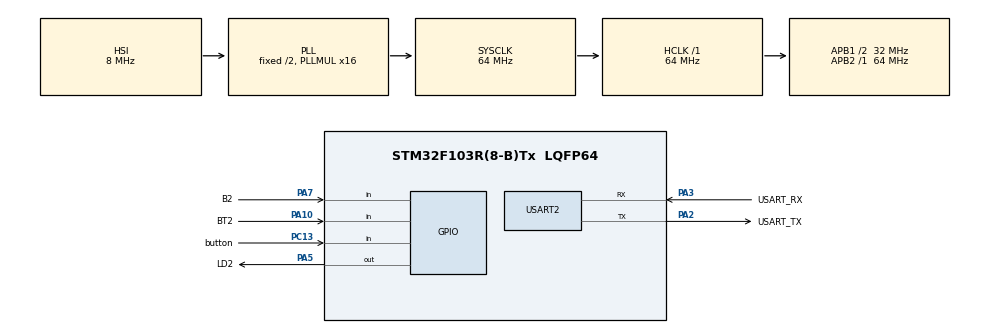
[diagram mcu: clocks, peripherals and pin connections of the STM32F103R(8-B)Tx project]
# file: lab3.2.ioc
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Mcu.Family=STM32F1
Mcu.Name=STM32F103R(8-B)Tx
Mcu.Package=LQFP64
NVIC.PriorityGroup=NVIC_PRIORITYGROUP_4
NVIC.TIM3_IRQn=true\:0\:0\:false\:false\:true\:true\:true
PA10.GPIO_Label=BT2
PA10.Signal=GPIO_Input
PA13.GPIO_Label=TMS
PA13.Mode=Serial_Wire
PA13.Signal=SYS_JTMS-SWDIO
PA14.GPIO_Label=TCK
PA14.Mode=Serial_Wire
PA14.Signal=SYS_JTCK-SWCLK
PA2.GPIO_Label=USART_TX
PA2.GPIO_Mode=GPIO_MODE_AF_PP
PA2.GPIO_PuPd=GPIO_NOPULL
PA2.GPIO_Speed=GPIO_SPEED_FREQ_LOW
PA2.Mode=Asynchronous
PA2.Signal=USART2_TX
PA3.GPIO_Label=USART_RX
PA3.GPIO_Mode=GPIO_MODE_AF_PP
PA3.GPIO_PuPd=GPIO_NOPULL
PA3.GPIO_Speed=GPIO_SPEED_FREQ_LOW
PA3.Mode=Asynchronous
PA3.Signal=USART2_RX
PA5.GPIO_Label=LD2
PA5.Signal=GPIO_Output
PA7.GPIO_Label=B2
PA7.Signal=GPIO_Input
PB3.GPIO_Label=SWO
PB3.Signal=SYS_JTDO-TRACESWO
PC13-TAMPER-RTC.GPIO_Label=button
PC13-TAMPER-RTC.Signal=GPIO_Input
PC14-OSC32_IN.Signal=RCC_OSC32_IN
PC15-OSC32_OUT.Signal=RCC_OSC32_OUT
PD0-OSC_IN.Signal=RCC_OSC_IN
PD1-OSC_OUT.Signal=RCC_OSC_OUT
ProjectManager.HeapSize=0x200
ProjectManager.StackSize=0x400
ProjectManager.TargetToolchain=STM32CubeIDE
RCC.AHBFreq_Value=64000000
RCC.APB1CLKDivider=RCC_HCLK_DIV2
RCC.APB1Freq_Value=32000000
RCC.APB1TimFreq_Value=64000000
RCC.APB2Freq_Value=64000000
RCC.APB2TimFreq_Value=64000000
RCC.HCLKFreq_Value=64000000
RCC.PLLMUL=RCC_PLL_MUL16
RCC.RTCClockSelection=RCC_RTCCLKSOURCE_LSE
RCC.SYSCLKFreq_VALUE=64000000
RCC.SYSCLKSource=RCC_SYSCLKSOURCE_PLLCLK
RCC.USBFreq_Value=64000000
TIM3.Period=10-1
TIM3.Prescaler=64000-1
USART2.VirtualMode=VM_ASYNC
VP_TIM3_VS_ClockSourceINT.Mode=Internal
board=NUCLEO-F103RB

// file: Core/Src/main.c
/* USER CODE BEGIN Header */
/**
  ******************************************************************************
  * @file           : main.c
  * @brief          : Main program body
  ******************************************************************************
  * @attention
  *
  * <h2><center>&copy; Copyright (c) 2020 STMicroelectronics.
  * All rights reserved.</center></h2>
  *
  * This software component is licensed by ST under BSD 3-Clause license,
  * the "License"; You may not use this file except in compliance with the
  * License. You may obtain a copy of the License at:
  *                        opensource.org/licenses/BSD-3-Clause
  *
  ******************************************************************************
  */
/* USER CODE END Header */

#include <main.h>
#include <stdbool.h>
#include <stdio.h>
#include <stm32f103xb.h>
#include <stm32f1xx_hal_def.h>
#include <stm32f1xx_hal_flash.h>
#include <stm32f1xx_hal_gpio.h>
#include <stm32f1xx_hal_rcc.h>
#include <stm32f1xx_hal_rcc_ex.h>
#include <stm32f1xx_hal_tim.h>
#include <stm32f1xx_hal_tim_ex.h>
#include <stm32f1xx_hal_uart.h>
#include <sys/_stdint.h>

/* USER CODE END Includes */

TIM_HandleTypeDef htim3;

UART_HandleTypeDef huart2;

void SystemClock_Config(void);
static void MX_GPIO_Init(void);
static void MX_USART2_UART_Init(void);
static void MX_TIM3_Init(void);

/* USER CODE BEGIN 0 */
int sec = 0;
int min = 0;
int hr = 0;
int msec = 0;
int sec2 = 0;
int min2 = 0;
int msec2 = 0;
_Bool m4 = false;
char buf[50];
int buf_len = 50;
int fbutton = 0;
int mode = 0;
_Bool checkval = 1;
_Bool checkval2 = 1;
_Bool BL = true;
//uint16_t count22=0;
int fbuttonpress12s = 0;
int fbutton2;
int count = 0;
//char
/* USER CODE END 0 */

int main(void)
{

  /* MCU Configuration--------------------------------------------------------*/

  /* Reset of all peripherals, Initializes the Flash interface and the Systick. */
  HAL_Init();

  /* Configure the system clock */
  SystemClock_Config();

  /* Initialize all configured peripherals */
  MX_GPIO_Init();
  MX_USART2_UART_Init();
  MX_TIM3_Init();
  /* USER CODE BEGIN 2 */
  HAL_TIM_Base_Start_IT(&htim3);
  /* USER CODE END 2 */

  /* Infinite loop */
  while (1)
  {

  }
}

void SystemClock_Config(void)
{
  RCC_OscInitTypeDef RCC_OscInitStruct = {0};
  RCC_ClkInitTypeDef RCC_ClkInitStruct = {0};

  /** Initializes the RCC Oscillators according to the specified parameters
  * in the RCC_OscInitTypeDef structure.
  */
  RCC_OscInitStruct.OscillatorType = RCC_OSCILLATORTYPE_HSI;
  RCC_OscInitStruct.HSIState = RCC_HSI_ON;
  RCC_OscInitStruct.HSICalibrationValue = RCC_HSICALIBRATION_DEFAULT;
  RCC_OscInitStruct.PLL.PLLState = RCC_PLL_ON;
  RCC_OscInitStruct.PLL.PLLSource = RCC_PLLSOURCE_HSI_DIV2;
  RCC_OscInitStruct.PLL.PLLMUL = RCC_PLL_MUL16;
  if (HAL_RCC_OscConfig(&RCC_OscInitStruct) != HAL_OK)
  {
    Error_Handler();
  }
  /** Initializes the CPU, AHB and APB buses clocks
  */
  RCC_ClkInitStruct.ClockType = RCC_CLOCKTYPE_HCLK|RCC_CLOCKTYPE_SYSCLK
                              |RCC_CLOCKTYPE_PCLK1|RCC_CLOCKTYPE_PCLK2;
  RCC_ClkInitStruct.SYSCLKSource = RCC_SYSCLKSOURCE_PLLCLK;
  RCC_ClkInitStruct.AHBCLKDivider = RCC_SYSCLK_DIV1;
  RCC_ClkInitStruct.APB1CLKDivider = RCC_HCLK_DIV2;
  RCC_ClkInitStruct.APB2CLKDivider = RCC_HCLK_DIV1;

  if (HAL_RCC_ClockConfig(&RCC_ClkInitStruct, FLASH_LATENCY_2) != HAL_OK)
  {
    Error_Handler();
  }
}

static void MX_TIM3_Init(void)
{

  TIM_ClockConfigTypeDef sClockSourceConfig = {0};
  TIM_MasterConfigTypeDef sMasterConfig = {0};

  htim3.Instance = TIM3;
  htim3.Init.Prescaler = 64000-1;
  htim3.Init.CounterMode = TIM_COUNTERMODE_UP;
  htim3.Init.Period = 10-1;
  htim3.Init.ClockDivision = TIM_CLOCKDIVISION_DIV1;
  htim3.Init.AutoReloadPreload = TIM_AUTORELOAD_PRELOAD_DISABLE;
  if (HAL_TIM_Base_Init(&htim3) != HAL_OK)
  {
    Error_Handler();
  }
  sClockSourceConfig.ClockSource = TIM_CLOCKSOURCE_INTERNAL;
  if (HAL_TIM_ConfigClockSource(&htim3, &sClockSourceConfig) != HAL_OK)
  {
    Error_Handler();
  }
  sMasterConfig.MasterOutputTrigger = TIM_TRGO_RESET;
  sMasterConfig.MasterSlaveMode = TIM_MASTERSLAVEMODE_DISABLE;
  if (HAL_TIMEx_MasterConfigSynchronization(&htim3, &sMasterConfig) != HAL_OK)
  {
    Error_Handler();
  }

}

static void MX_USART2_UART_Init(void)
{

  huart2.Instance = USART2;
  huart2.Init.BaudRate = 115200;
  huart2.Init.WordLength = UART_WORDLENGTH_8B;
  huart2.Init.StopBits = UART_STOPBITS_1;
  huart2.Init.Parity = UART_PARITY_NONE;
  huart2.Init.Mode = UART_MODE_TX_RX;
  huart2.Init.HwFlowCtl = UART_HWCONTROL_NONE;
  huart2.Init.OverSampling = UART_OVERSAMPLING_16;
  if (HAL_UART_Init(&huart2) != HAL_OK)
  {
    Error_Handler();
  }

}

static void MX_GPIO_Init(void)
{
  GPIO_InitTypeDef GPIO_InitStruct = {0};

  /* GPIO Ports Clock Enable */
  __HAL_RCC_GPIOC_CLK_ENABLE();
  __HAL_RCC_GPIOD_CLK_ENABLE();
  __HAL_RCC_GPIOA_CLK_ENABLE();
  __HAL_RCC_GPIOB_CLK_ENABLE();

  /*Configure GPIO pin Output Level */
  HAL_GPIO_WritePin(LD2_GPIO_Port, LD2_Pin, GPIO_PIN_RESET);

  /*Configure GPIO pin : button_Pin */
  GPIO_InitStruct.Pin = button_Pin;
  GPIO_InitStruct.Mode = GPIO_MODE_INPUT;
  GPIO_InitStruct.Pull = GPIO_NOPULL;
  HAL_GPIO_Init(button_GPIO_Port, &GPIO_InitStruct);

  /*Configure GPIO pin : LD2_Pin */
  GPIO_InitStruct.Pin = LD2_Pin;
  GPIO_InitStruct.Mode = GPIO_MODE_OUTPUT_PP;
  GPIO_InitStruct.Pull = GPIO_NOPULL;
  GPIO_InitStruct.Speed = GPIO_SPEED_FREQ_LOW;
  HAL_GPIO_Init(LD2_GPIO_Port, &GPIO_InitStruct);

  /*Configure GPIO pins : B2_Pin BT2_Pin */
  GPIO_InitStruct.Pin = B2_Pin|BT2_Pin;
  GPIO_InitStruct.Mode = GPIO_MODE_INPUT;
  GPIO_InitStruct.Pull = GPIO_NOPULL;
  HAL_GPIO_Init(GPIOA, &GPIO_InitStruct);

}

/* USER CODE BEGIN 4 */
void Normal_clk(void){

	msec++;
		if(msec > 99){
			msec = 0;
			sec ++;
			if(sec > 59){
				sec = 0 ;
				min++;
				if(min > 59){
					min = 0;
					hr ++;
					if(hr > 23){
						hr = 0;
						min = 0;
						sec = 0;
						msec = 0;
					}
				}
			}
		}
}
void Readbutton(void) {

	if(!HAL_GPIO_ReadPin(GPIOC, GPIO_PIN_13) && checkval){
		if (!HAL_GPIO_ReadPin(GPIOC, GPIO_PIN_13)) {
				//fbutton = 1;
				HAL_GPIO_TogglePin(GPIOA, GPIO_PIN_5);
				//HAL_UART_Transmit(&huart2, "t", 4, 100);
				mode++;
				if(mode > 4)
				{
					mode = 0;
				}
				if(mode == 4)
				{
					msec2 =0 ;
					sec2 = 0;
					min2 = 0;
					m4=false;
				}

				checkval = false;
		}
	}else if(HAL_GPIO_ReadPin(GPIOC, GPIO_PIN_13) == GPIO_PIN_SET && checkval == false){
			if(HAL_GPIO_ReadPin(GPIOC, GPIO_PIN_13) == GPIO_PIN_SET){
				HAL_GPIO_TogglePin(GPIOA, GPIO_PIN_5);
				checkval = true;
				//fbutton = 0;
			}
		}
	}
void mode_zero(void){
	Normal_clk();
}
void mode_one(void){
	//Normal_clk();
	if(fbutton2 == 1 && fbuttonpress12s == 0){
		hr++;
		if(hr >23){
			hr=0;
		}
	}
	if(fbutton2 == 1 && fbuttonpress12s == 1){
			hr++;
			if(hr >23){
				hr=0;
			}
		}
}
void mode_two(void){
	if(fbutton2 == 1 && fbuttonpress12s == 0){
		min++;
		if(min > 59){
			min = 0;
			hr++;
		}
	}
	if(fbutton2 == 1 && fbuttonpress12s == 1){
		min++;
		if(min >59){
			min = 0;
			hr++;
		}
		}
}
void mode_three(void){
	if(fbutton2 == 1 && fbuttonpress12s == 0){
		sec++;
		if(sec > 59){
			min++;
			if(min > 59){
				hr++;
				if(hr > 23){
					min = 0;
					hr = 0;
					sec = 0;
				}
			}
		}
	}
	if(fbutton2 == 1 && fbuttonpress12s == 1){
		sec++;
		if(sec > 59){
			min++;
			if(min > 59){
				hr++;
				if(hr > 23){
					min = 0;
					hr = 0;
					sec = 0;
				}
			}
		}
	}
}
void mode_four(void){
	if(m4 == true){

	msec2++;
		if(msec2 > 99){
			msec2 = 0;
			sec2 ++;
			if(sec2 > 59){
				sec2 = 0 ;
				min2++;
				if(min2 > 59){
					min2 = 0;
					sec2 = 0;
					msec2 = 0;
				}
			}
		}
	}
}
enum {STATE13, STATE23, STATE33, STATE43} eState3;
void Readbutton2(void) {
	if(!HAL_GPIO_ReadPin(GPIOA, GPIO_PIN_10)){
		fbutton2 = 1;
		count++;
		if(count == 20){
			fbuttonpress12s = 1;
			switch(mode){
						case 0:
							mode_zero();
						case 1:
							//Normal_clk();

							mode_one();
							break;
						case 2:
							mode_two();
							break;
						case 3:
							mode_three();
							break;
							//Normal_clk();
						}
			count=0;
		}
	}
	if(!HAL_GPIO_ReadPin(GPIOA, GPIO_PIN_10) && checkval2){
		if (!HAL_GPIO_ReadPin(GPIOA, GPIO_PIN_10)) {
			HAL_GPIO_TogglePin(GPIOA, GPIO_PIN_5);
			fbutton2 = 1;
			//m4 = true;
			if(m4){
				m4 = false;
			}
			else{
				m4 = true;
			}
			switch(mode){
			case 1:
				mode_one();
				break;
			case 2:
				mode_two();
				break;
			case 3:
				mode_three();
				break;

				//Normal_clk();
			}
				checkval2 = 0;
		}
	}else if(HAL_GPIO_ReadPin(GPIOA, GPIO_PIN_10) == GPIO_PIN_SET && checkval2 == false){
			if(HAL_GPIO_ReadPin(GPIOA, GPIO_PIN_10) == GPIO_PIN_SET){
				HAL_GPIO_TogglePin(GPIOA, GPIO_PIN_5);
				fbuttonpress12s = 0;
				//count12 = 0;
				count = 0;
				checkval2 = 1;
				fbutton2 = 0;
				//m4 = 0;
			}
		}
}

//enum {STATE12, STATE22, STATE32, STATE42} eState2;
void HAL_TIM_PeriodElapsedCallback(TIM_HandleTypeDef *time){
	if(mode != 4){
		Normal_clk();
		print_to_ter(msec,sec,min,hr);
	}else{
		 mode_four();
		print_to_ter(msec2,sec2,min2,hr);
	}

	Readbutton();
	Readbutton2();
}
void print_to_ter(int a,int b,int c,int d){
	switch(mode){
	case 0:
		buf_len = sprintf(buf, "\033[2J]	");
		buf_len = sprintf(buf, "mode%u %u:%u:%u      \r",mode,d,c,b);
		HAL_UART_Transmit(&huart2, (uint8_t *) buf, buf_len, 100);
		break;
	case 1:
		if(BL){
			buf_len = sprintf(buf, "\033[2J]	");
			buf_len = sprintf(buf, "mode%u %u:%u:%u      \r",mode,d,c,b);
			HAL_UART_Transmit(&huart2, (uint8_t *) buf, buf_len, 100);
			BL = false;
		}
		else{
			buf_len = sprintf(buf, "\033[2J]	");
			buf_len = sprintf(buf, "mode%u  :%u:%u      \r",mode,c,b);
			HAL_UART_Transmit(&huart2, (uint8_t *) buf, buf_len, 100);
			BL = true;
		}
		break;
	case 2:
		if(BL){
			buf_len = sprintf(buf, "\033[2J]	");
			buf_len = sprintf(buf, "mode%u %u:%u:%u      \r",mode,d,c,b);
			HAL_UART_Transmit(&huart2, (uint8_t *) buf, buf_len, 100);
			BL = false;
		}
		else{
			buf_len = sprintf(buf, "\033[2J]	");
			buf_len = sprintf(buf, "mode%u %u: :%u      \r",mode,d,b);
			HAL_UART_Transmit(&huart2, (uint8_t *) buf, buf_len, 100);
			BL = true;
		}
		break;
	case 3:
		if(BL){
			buf_len = sprintf(buf, "\033[2J]	");
			buf_len = sprintf(buf, "mode%u %u:%u:%u      \r",mode,d,c,b);
			HAL_UART_Transmit(&huart2, (uint8_t *) buf, buf_len, 100);
			BL = false;
		}
		else{
			buf_len = sprintf(buf, "\033[2J]	");
			buf_len = sprintf(buf, "mode%u %u:%u:       \r",mode,d,c);
			HAL_UART_Transmit(&huart2, (uint8_t *) buf, buf_len, 100);
			BL = true;
		}
		break;
	case 4:
			buf_len = sprintf(buf, "\033[2J]	");
			buf_len = sprintf(buf, "mode%u %u:%u:%u      \r",mode,c,b,a);
			HAL_UART_Transmit(&huart2, (uint8_t *) buf, buf_len, 100);
			break;
	}

}

/* USER CODE END 4 */

void Error_Handler(void)
{
}

/************************ (C) COPYRIGHT STMicroelectronics *****END OF FILE****/
